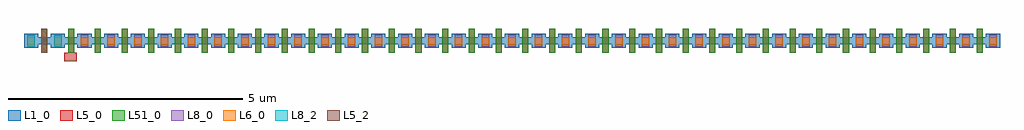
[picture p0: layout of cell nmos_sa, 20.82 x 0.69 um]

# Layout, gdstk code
import gdstk
lib = gdstk.Library(unit=1e-6, precision=5e-09)
def R(c, l, rs):  # rectangles x0, y0, x1, y1
    for r in rs: c.add(gdstk.rectangle(r[:2], r[2:], *l))
def A(c, l, x, y, w, h, nx, ny, dx, dy):  # array of equal rectangles
    R(c, l, [(x+i*dx, y+j*dy, x+i*dx+w, y+j*dy+h) for i in range(nx) for j in range(ny)])
def P(c, l, *ps):  # polygons
    for p in ps: c.add(gdstk.Polygon(p, *l))
L1_0 = (1, 0)
L5_0 = (5, 0)
L5_2 = (5, 2)
L6_0 = (6, 0)
L8_0 = (8, 0)
L8_2 = (8, 2)
L51_0 = (51, 0)

nmos_1 = lib.new_cell('nmos$1')
A(nmos_1, L1_0, 0, 0, 0.3, 0.3, 37, 1, 0.57, 0)
R(nmos_1, L1_0, [(0,0.075,20.82,0.225)])
A(nmos_1, L5_0, 0.37, -0.105, 0.13, 0.51, 36, 1, 0.57, 0)
R(nmos_1, L5_2, [(0.37,-0.105,0.5,0.405)])
A(nmos_1, L6_0, 0.07, 0.07, 0.16, 0.16, 37, 1, 0.57, 0)
A(nmos_1, L8_0, 0.07, 0.02, 0.16, 0.26, 37, 1, 0.57, 0)
R(nmos_1, L8_2, [(0.07,0.02,0.23,0.28), (0.64,0.02,0.8,0.28)])
A(nmos_1, L51_0, 0.37, -0.105, 0.13, 0.51, 36, 1, 0.57, 0)
nmos_1.add(gdstk.Label('nmos', (0.435,0.15), layer=63, texttype=0))
nmos_1.add(gdstk.Label('nmos', (0.435,0.15), layer=51, texttype=0))
nmos_1.add(gdstk.Label('nmos', (1.005,0.15), layer=51, texttype=0))
nmos_1.add(gdstk.Label('nmos', (1.575,0.15), layer=51, texttype=0))
nmos_1.add(gdstk.Label('nmos', (2.145,0.15), layer=51, texttype=0))
nmos_1.add(gdstk.Label('nmos', (2.715,0.15), layer=51, texttype=0))
nmos_1.add(gdstk.Label('nmos', (3.285,0.15), layer=51, texttype=0))
nmos_1.add(gdstk.Label('nmos', (3.855,0.15), layer=51, texttype=0))
nmos_1.add(gdstk.Label('nmos', (4.425,0.15), layer=51, texttype=0))
nmos_1.add(gdstk.Label('nmos', (4.995,0.15), layer=51, texttype=0))
nmos_1.add(gdstk.Label('nmos', (5.565,0.15), layer=51, texttype=0))
nmos_1.add(gdstk.Label('nmos', (6.135,0.15), layer=51, texttype=0))
nmos_1.add(gdstk.Label('nmos', (6.705,0.15), layer=51, texttype=0))
nmos_1.add(gdstk.Label('nmos', (7.275,0.15), layer=51, texttype=0))
nmos_1.add(gdstk.Label('nmos', (7.845,0.15), layer=51, texttype=0))
nmos_1.add(gdstk.Label('nmos', (8.415,0.15), layer=51, texttype=0))
nmos_1.add(gdstk.Label('nmos', (8.985,0.15), layer=51, texttype=0))
nmos_1.add(gdstk.Label('nmos', (9.555,0.15), layer=51, texttype=0))
nmos_1.add(gdstk.Label('nmos', (10.125,0.15), layer=51, texttype=0))
nmos_1.add(gdstk.Label('nmos', (10.695,0.15), layer=51, texttype=0))
nmos_1.add(gdstk.Label('nmos', (11.265,0.15), layer=51, texttype=0))
nmos_1.add(gdstk.Label('nmos', (11.835,0.15), layer=51, texttype=0))
nmos_1.add(gdstk.Label('nmos', (12.405,0.15), layer=51, texttype=0))
nmos_1.add(gdstk.Label('nmos', (12.975,0.15), layer=51, texttype=0))
nmos_1.add(gdstk.Label('nmos', (13.545,0.15), layer=51, texttype=0))
nmos_1.add(gdstk.Label('nmos', (14.115,0.15), layer=51, texttype=0))
nmos_1.add(gdstk.Label('nmos', (14.685,0.15), layer=51, texttype=0))
nmos_1.add(gdstk.Label('nmos', (15.255,0.15), layer=51, texttype=0))
nmos_1.add(gdstk.Label('nmos', (15.825,0.15), layer=51, texttype=0))
nmos_1.add(gdstk.Label('nmos', (16.395,0.15), layer=51, texttype=0))
nmos_1.add(gdstk.Label('nmos', (16.965,0.15), layer=51, texttype=0))
nmos_1.add(gdstk.Label('nmos', (17.535,0.15), layer=51, texttype=0))
nmos_1.add(gdstk.Label('nmos', (18.105,0.15), layer=51, texttype=0))
nmos_1.add(gdstk.Label('nmos', (18.675,0.15), layer=51, texttype=0))
nmos_1.add(gdstk.Label('nmos', (19.245,0.15), layer=51, texttype=0))
nmos_1.add(gdstk.Label('nmos', (19.815,0.15), layer=51, texttype=0))
nmos_1.add(gdstk.Label('nmos', (20.385,0.15), layer=51, texttype=0))

nmos_sa = lib.new_cell('nmos_sa')
P(nmos_sa, L5_0, [(0.405,0),(0.405,0.18),(0.49,0.18),(0.49,0.69),(0.62,0.69),(0.62,0.18),(0.675,0.18),(0.675,0)])
nmos_sa.add(gdstk.Reference(nmos_1, (-0.45,0.285)))

lib.write_gds('nmos_sa.gds')
